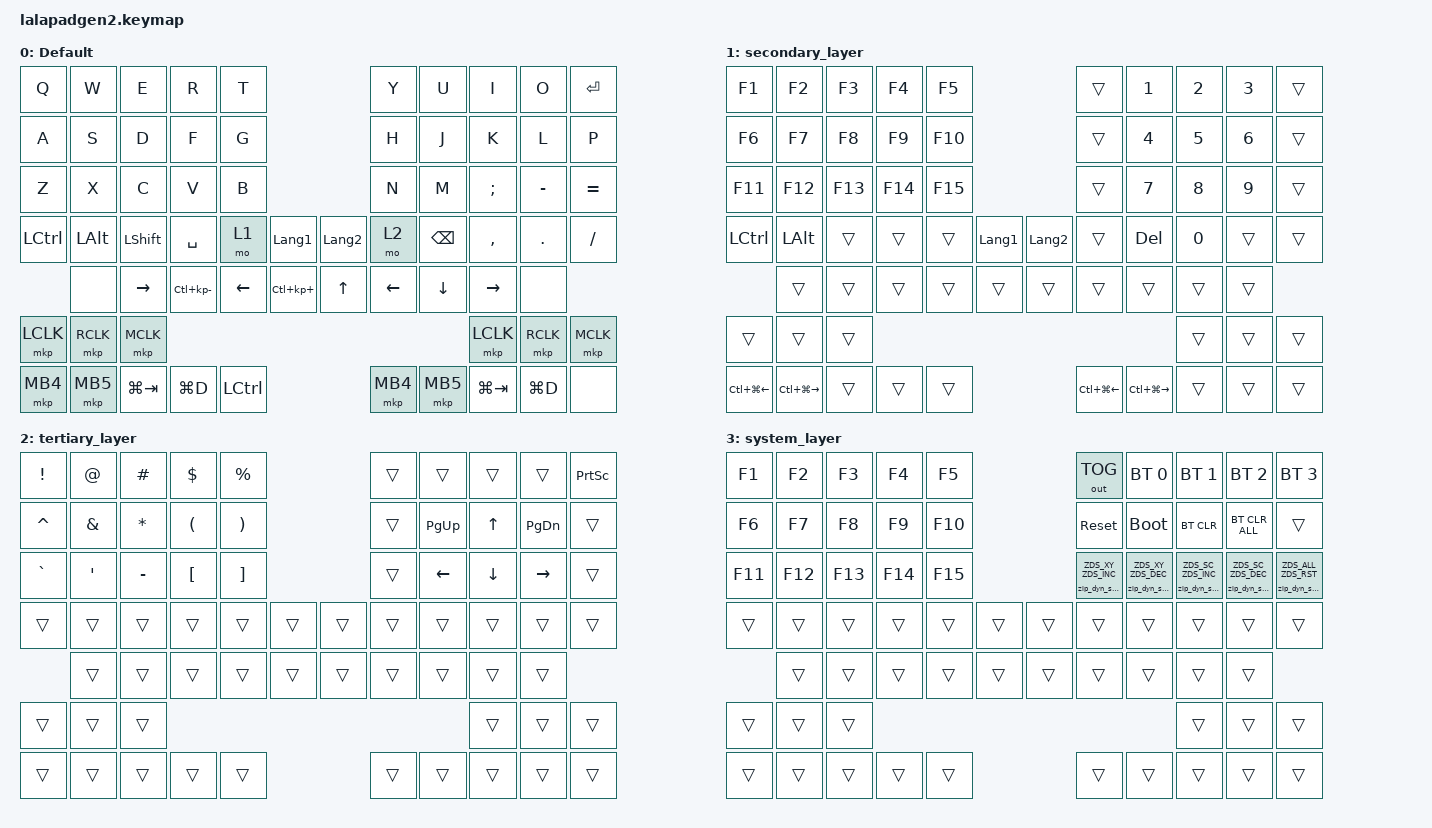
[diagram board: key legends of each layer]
#include <input/processors.dtsi>
#include <dt-bindings/zmk/zip_dynamic_scale.h>
#include <behaviors.dtsi>
#include <dt-bindings/zmk/bt.h>
#include <dt-bindings/zmk/keys.h>
#include <dt-bindings/zmk/outputs.h>
#include <dt-bindings/zmk/pointing.h>

#define DEFAULT_LAYER   0
#define SECONDARY_LAYER 1
#define TERTIARY_LAYER  2
#define SYSTEM_LAYER    3

&mt { quick-tap-ms = <200>; };

&lt { quick-tap-ms = <200>; };

/ {
    behaviors {
        zip_dyn_scale: zip_dyn_scale {
            compatible = "zmk,behavior-zip-dynamic-scale";
            #binding-cells = <2>;
        };

        zip_dyn_scale_set: zip_dyn_scale_set {
            compatible = "zmk,behavior-zip-dynamic-scale-set";
            #binding-cells = <2>;
        };

        mt2: mod_tap2 {
            compatible = "zmk,behavior-hold-tap";
            #binding-cells = <2>;
            flavor = "tap-preferred";
            tapping-term-ms = <200>;
            quick-tap-ms = <200>;
            require-prior-idle-ms = <125>;
            bindings = <&kp>, <&kp>;
        };

        tap_dance_layer_1and2: tap_dance_layer_1and2 {
            compatible = "zmk,behavior-tap-dance";
            label = "td_mo12";
            #binding-cells = <0>;
            bindings = <&mo 1>, <&mo 2>;
        };
    };

    combos {
        compatible = "zmk,combos";

        CONBO_ESC {
            bindings = <&kp ESCAPE>;
            key-positions = <0 1>;
        };

        COMBO_TAB {
            bindings = <&kp TAB>;
            key-positions = <10 11>;
        };
    };

    keymap {
        compatible = "zmk,keymap";

        DEFAULT_LAYER {
            display-name = "Default";
            bindings = <
&kp Q      &kp W      &kp E           &kp R             &kp T                                       &kp Y     &kp U          &kp I          &kp O       &kp ENTER
&kp A      &kp S      &kp D           &kp F             &kp G                                       &kp H     &kp J          &kp K          &kp L       &kp P
&kp Z      &kp X      &kp C           &kp V             &kp B                                       &kp N     &kp M          &kp SEMICOLON  &kp MINUS   &kp EQUAL
&kp LCTRL  &kp LALT   &kp LEFT_SHIFT  &kp SPACE         &mo 1      &kp LANGUAGE_1   &kp LANGUAGE_2  &mo 2     &kp BACKSPACE  &kp COMMA      &kp PERIOD  &kp SLASH
           &none      &kp RIGHT       &kp LC(KP_MINUS)  &kp LEFT   &kp LC(KP_PLUS)  &kp UP          &kp LEFT  &kp DOWN       &kp RIGHT      &none
&mkp LCLK  &mkp RCLK  &mkp MCLK                                                                                              &mkp LCLK      &mkp RCLK   &mkp MCLK
&mkp MB4   &mkp MB5   &kp LG(TAB)     &kp LG(D)         &kp LCTRL                                   &mkp MB4  &mkp MB5       &kp LG(TAB)    &kp LG(D)   &none
            >;
        };

        SECONDARY_LAYER {
            display-name = "secondary_layer";
            bindings = <
&kp F1            &kp F2             &kp F3   &kp F4   &kp F5                                   &trans            &kp NUMBER_1       &kp NUMBER_2  &kp NUMBER_3  &trans
&kp F6            &kp F7             &kp F8   &kp F9   &kp F10                                  &trans            &kp NUMBER_4       &kp N5        &kp NUMBER_6  &trans
&kp F11           &kp F12            &kp F13  &kp F14  &kp F15                                  &trans            &kp N7             &kp N8        &kp N9        &trans
&kp LCTRL         &kp LEFT_ALT       &trans   &trans   &trans   &kp LANGUAGE_1  &kp LANGUAGE_2  &trans            &kp DELETE         &kp NUMBER_0  &trans        &trans
                  &trans             &trans   &trans   &trans   &trans          &trans          &trans            &trans             &trans        &trans
&trans            &trans             &trans                                                                                          &trans        &trans        &trans
&kp LC(LG(LEFT))  &kp LC(LG(RIGHT))  &trans   &trans   &trans                                   &kp LC(LG(LEFT))  &kp LC(LG(RIGHT))  &trans        &trans        &trans
            >;
        };

        TERTIARY_LAYER {
            display-name = "tertiary_layer";
            bindings = <
&kp EXCLAMATION  &kp AT_SIGN    &kp HASH      &kp DOLLAR            &kp PERCENT                            &trans  &trans       &trans          &trans           &kp PRINTSCREEN
&kp CARET        &kp AMPERSAND  &kp ASTERISK  &kp LEFT_PARENTHESIS  &kp RIGHT_PARENTHESIS                  &trans  &kp PAGE_UP  &kp UP_ARROW    &kp PAGE_DOWN    &trans
&kp GRAVE        &kp SQT        &kp MINUS     &kp LEFT_BRACKET      &kp RIGHT_BRACKET                      &trans  &kp LEFT     &kp DOWN_ARROW  &kp RIGHT_ARROW  &trans
&trans           &trans         &trans        &trans                &trans                 &trans  &trans  &trans  &trans       &trans          &trans           &trans
                 &trans         &trans        &trans                &trans                 &trans  &trans  &trans  &trans       &trans          &trans
&trans           &trans         &trans                                                                                          &trans          &trans           &trans
&trans           &trans         &trans        &trans                &trans                                 &trans  &trans       &trans          &trans           &trans
            >;
        };

        SYSTEM_LAYER {
            display-name = "system_layer";
            bindings = <
&kp F1   &kp F2   &kp F3   &kp F4   &kp F5                   &out OUT_TOG                   &bt BT_SEL 0                   &bt BT_SEL 1                   &bt BT_SEL 2                   &bt BT_SEL 3
&kp F6   &kp F7   &kp F8   &kp F9   &kp F10                  &sys_reset                     &bootloader                    &bt BT_CLR                     &bt BT_CLR_ALL                 &trans
&kp F11  &kp F12  &kp F13  &kp F14  &kp F15                  &zip_dyn_scale ZDS_XY ZDS_INC  &zip_dyn_scale ZDS_XY ZDS_DEC  &zip_dyn_scale ZDS_SC ZDS_INC  &zip_dyn_scale ZDS_SC ZDS_DEC  &zip_dyn_scale ZDS_ALL ZDS_RST
&trans   &trans   &trans   &trans   &trans   &trans  &trans  &trans                         &trans                         &trans                         &trans                         &trans
         &trans   &trans   &trans   &trans   &trans  &trans  &trans                         &trans                         &trans                         &trans
&trans   &trans   &trans                                                                                                   &trans                         &trans                         &trans
&trans   &trans   &trans   &trans   &trans                   &trans                         &trans                         &trans                         &trans                         &trans
            >;
        };
    };

    conditional_layers {
        compatible = "zmk,conditional-layers";

        Cond_Syslayer {
            if-layers = <1 2>;
            then-layer = <3>;
        };
    };
};
